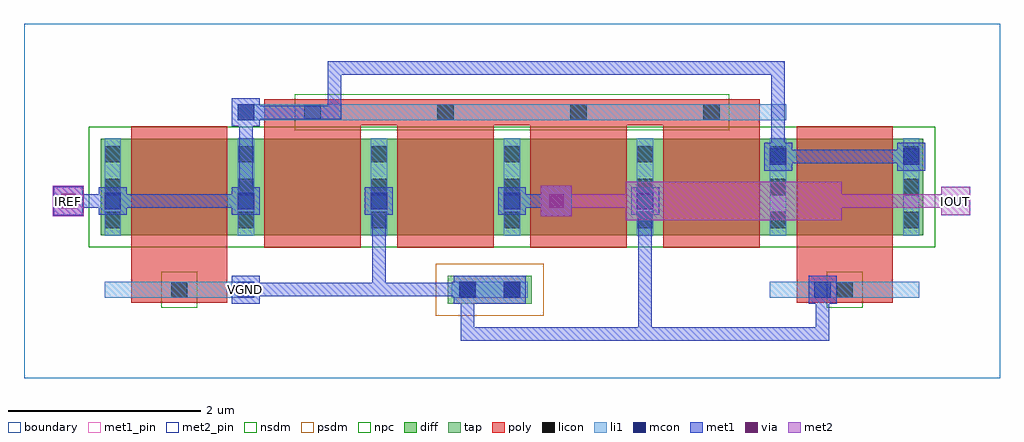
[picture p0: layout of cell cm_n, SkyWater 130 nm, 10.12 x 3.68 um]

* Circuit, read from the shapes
.subckt cm_n IOUT IREF VGND
XM1 IREF VGND IREF VGND sky130_fd_pr__nfet_01v8 w=1 l=1 m=2
XM2 VGND IREF IREF VGND sky130_fd_pr__nfet_01v8 w=1 l=1 m=2
XM3 IOUT IREF VGND VGND sky130_fd_pr__nfet_01v8 w=1 l=1 m=2
.ends

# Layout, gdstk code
import gdstk
lib = gdstk.Library(unit=1e-6, precision=1e-09)
def R(c, l, rs):  # rectangles x0, y0, x1, y1
    for r in rs: c.add(gdstk.rectangle(r[:2], r[2:], *l))
def A(c, l, x, y, w, h, nx, ny, dx, dy):  # array of equal rectangles
    R(c, l, [(x+i*dx, y+j*dy, x+i*dx+w, y+j*dy+h) for i in range(nx) for j in range(ny)])
diff = (65, 20)
tap = (65, 44)
poly = (66, 20)
licon = (66, 44)
li1 = (67, 20)
mcon = (67, 44)
met1_pin = (68, 16)
met1 = (68, 20)
via = (68, 44)
met2_pin = (69, 16)
met2 = (69, 20)
nsdm = (93, 44)
psdm = (94, 20)
npc = (95, 20)
boundary = (235, 4)

cm_n = lib.new_cell('cm_n')
R(cm_n, diff, [(0.795,1.485,9.325,2.485)])
R(cm_n, tap, [(4.395,0.775,5.265,1.065)])
A(cm_n, poly, 2.49, 1.355, 1, 1.405, 4, 1, 1.38, 0)
R(cm_n, poly, [(1.11,0.785,2.11,1.055), (8.01,0.785,9.01,1.055), (1.11,0.92,2.11,2.615), (8.01,0.92,9.01,2.615), (2.49,2.625,7.63,2.895)])
A(cm_n, licon, 0.835, 1.56, 0.17, 0.17, 7, 3, 1.38, 0.34)
A(cm_n, licon, 2.905, 2.675, 0.17, 0.17, 4, 1, 1.38, 0)
R(cm_n, licon, [(1.525,0.835,1.695,1.005), (4.515,0.835,4.685,1.005), (4.975,0.835,5.145,1.005), (8.425,0.835,8.595,1.005)])
A(cm_n, li1, 0.835, 1.48, 0.17, 1.01, 7, 1, 1.38, 0)
R(cm_n, li1, [(0.835,0.835,2.385,1.005), (4.435,0.835,5.225,1.005), (7.735,0.835,9.285,1.005), (2.215,2.675,7.905,2.845)])
A(cm_n, mcon, 0.835, 1.755, 0.17, 0.17, 5, 1, 1.38, 0)
R(cm_n, mcon, [(2.215,0.835,2.385,1.005), (4.515,0.835,4.685,1.005), (4.975,0.835,5.145,1.005), (8.195,0.835,8.365,1.005), (7.735,2.215,7.905,2.385), (9.115,2.215,9.285,2.385), (2.215,2.675,2.385,2.845)])
R(cm_n, met1_pin, [(2.155,0.775,2.445,1.065)])
A(cm_n, met1, 0.775, 1.695, 0.29, 0.29, 5, 1, 1.38, 0)
R(cm_n, met1, [(4.53,0.39,4.67,0.99), (4.53,0.39,6.51,0.53), (6.37,0.39,8.35,0.53), (6.37,0.39,6.51,1.91), (8.21,0.39,8.35,0.99), (2.155,0.775,2.445,1.065), (4.455,0.775,5.205,1.065), (8.135,0.775,8.425,1.065), (2.23,0.85,3.75,0.99), (3.61,0.85,3.75,1.91), (3.61,0.85,4.67,0.99), (4.53,0.85,4.67,0.99), (0.3,1.68,0.62,2), (5.36,1.68,5.68,2), (0.39,1.77,0.99,1.91), (0.85,1.77,2.37,1.91), (2.23,1.77,2.37,2.83), (4.99,1.77,5.59,1.91), (7.675,2.155,7.965,2.445), (9.055,2.155,9.345,2.445), (7.75,2.23,9.27,2.37), (7.75,2.23,7.89,3.29), (2.155,2.615,2.445,2.905), (2.23,2.69,3.29,2.83), (3.15,2.69,3.29,3.29), (3.15,3.15,7.89,3.29)])
R(cm_n, via, [(0.385,1.765,0.535,1.915), (5.445,1.765,5.595,1.915)])
R(cm_n, met2_pin, [(0.31,1.69,0.61,1.99), (9.51,1.69,9.81,1.99)])
R(cm_n, met2, [(6.24,1.64,8.48,2.04), (0.3,1.68,0.62,2), (5.36,1.68,5.68,2), (0.31,1.69,0.61,1.99), (9.51,1.69,9.81,1.99), (0.39,1.77,0.53,1.91), (5.45,1.77,6.51,1.91), (8.21,1.77,9.73,1.91), (9.59,1.77,9.73,1.91)])
R(cm_n, nsdm, [(0.67,1.36,9.45,2.61)])
R(cm_n, psdm, [(4.27,0.65,5.39,1.19)])
R(cm_n, npc, [(1.425,0.735,1.795,1.105), (8.325,0.735,8.695,1.105), (2.805,2.575,7.315,2.945)])
R(cm_n, boundary, [(0,0,10.12,3.68)])
cm_n.add(gdstk.Label('VGND', (2.3,0.92), layer=68, texttype=5))
cm_n.add(gdstk.Label('IREF', (0.46,1.84), layer=69, texttype=5))
cm_n.add(gdstk.Label('IOUT', (9.66,1.84), layer=69, texttype=5))
cm_n.add(gdstk.Label('VGND', (2.3,0.92), layer=68, texttype=16))
cm_n.add(gdstk.Label('IREF', (0.46,1.84), layer=69, texttype=16))
cm_n.add(gdstk.Label('IOUT', (9.66,1.84), layer=69, texttype=16))

lib.write_gds('cm_n.gds')
